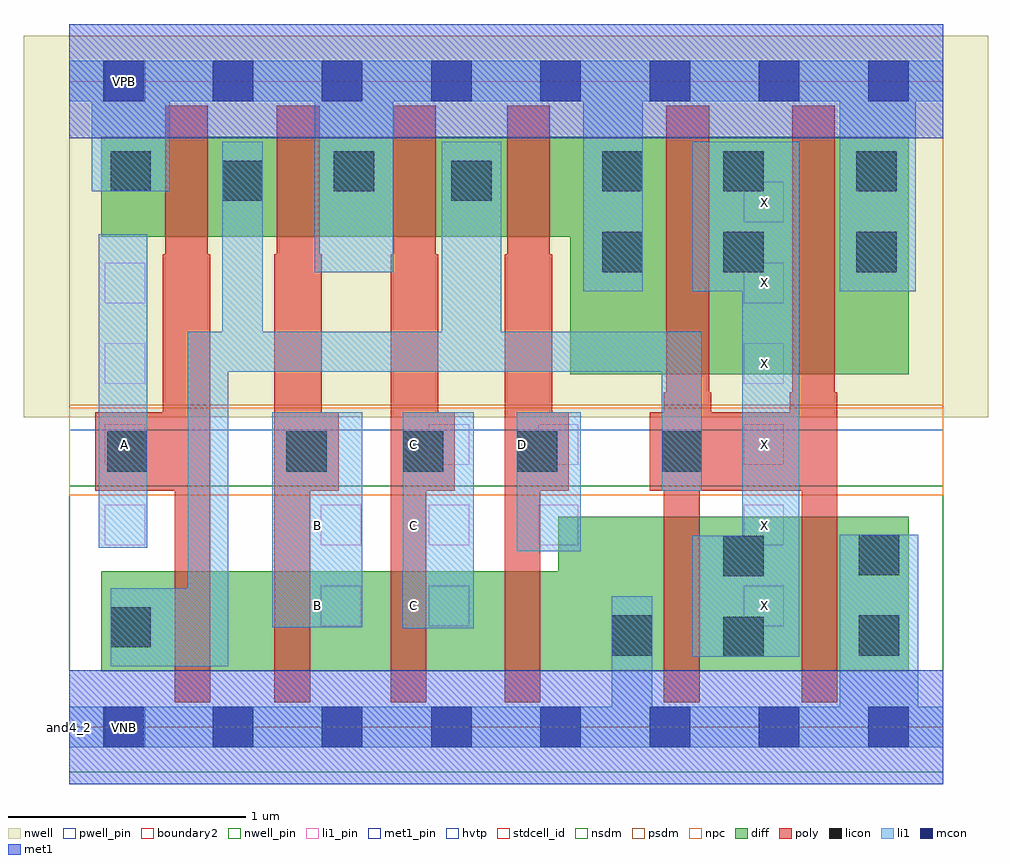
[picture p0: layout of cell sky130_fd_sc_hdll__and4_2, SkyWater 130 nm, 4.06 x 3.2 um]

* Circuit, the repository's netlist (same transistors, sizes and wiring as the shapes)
* Copyright 2020 The SkyWater PDK Authors
*
* Licensed under the Apache License, Version 2.0 (the "License");
* you may not use this file except in compliance with the License.
* You may obtain a copy of the License at
*
*     https://www.apache.org/licenses/LICENSE-2.0
*
* Unless required by applicable law or agreed to in writing, software
* distributed under the License is distributed on an "AS IS" BASIS,
* WITHOUT WARRANTIES OR CONDITIONS OF ANY KIND, either express or implied.
* See the License for the specific language governing permissions and
* limitations under the License.
*
* SPDX-License-Identifier: Apache-2.0

.SUBCKT sky130_fd_sc_hdll__and4_2 A B C D VGND VNB VPB VPWR X
*.PININFO A:I B:I C:I D:I VGND:I VNB:I VPB:I VPWR:I X:O
MMP0 y A VPWR VPB sky130_fd_pr__pfet_01v8_hvt m=1 w=0.42U l=0.18U mult=1 sa=0.265
+ sb=0.265 sd=0.28 area=0.063 perim=1.14
MMP1 y B VPWR VPB sky130_fd_pr__pfet_01v8_hvt m=1 w=0.42U l=0.18U mult=1 sa=0.265
+ sb=0.265 sd=0.28 area=0.063 perim=1.14
MMP2 y C VPWR VPB sky130_fd_pr__pfet_01v8_hvt m=1 w=0.42U l=0.18U mult=1 sa=0.265
+ sb=0.265 sd=0.28 area=0.063 perim=1.14
MMP3 y D VPWR VPB sky130_fd_pr__pfet_01v8_hvt m=1 w=0.42U l=0.18U mult=1 sa=0.265
+ sb=0.265 sd=0.28 area=0.063 perim=1.14
MMIP0 X y VPWR VPB sky130_fd_pr__pfet_01v8_hvt m=2 w=1.0U l=0.18U mult=1 sa=0.265
+ sb=0.265 sd=0.28 area=0.063 perim=1.14
MMN0 y A sndA VNB sky130_fd_pr__nfet_01v8 m=1 w=0.42U l=0.15U mult=1 sa=0.265 sb=0.265
+ sd=0.28 area=0.063 perim=1.14
MMN1 sndA B sndB VNB sky130_fd_pr__nfet_01v8 m=1 w=0.42U l=0.15U mult=1 sa=0.265
+ sb=0.265 sd=0.28 area=0.063 perim=1.14
MMN2 sndB C sndC VNB sky130_fd_pr__nfet_01v8 m=1 w=0.42U l=0.15U mult=1 sa=0.265
+ sb=0.265 sd=0.28 area=0.063 perim=1.14
MMN3 sndC D VGND VNB sky130_fd_pr__nfet_01v8 m=1 w=0.42U l=0.15U mult=1 sa=0.265
+ sb=0.265 sd=0.28 area=0.063 perim=1.14
MMIN0 X y VGND VNB sky130_fd_pr__nfet_01v8 m=2 w=0.65U l=0.15U mult=1 sa=0.265
+ sb=0.265 sd=0.28 area=0.063 perim=1.14
.ENDS sky130_fd_sc_hdll__and4_2

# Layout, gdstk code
import gdstk
lib = gdstk.Library(unit=1e-6, precision=1e-09)
def R(c, l, rs):  # rectangles x0, y0, x1, y1
    for r in rs: c.add(gdstk.rectangle(r[:2], r[2:], *l))
def A(c, l, x, y, w, h, nx, ny, dx, dy):  # array of equal rectangles
    R(c, l, [(x+i*dx, y+j*dy, x+i*dx+w, y+j*dy+h) for i in range(nx) for j in range(ny)])
def P(c, l, *ps):  # polygons
    for p in ps: c.add(gdstk.Polygon(p, *l))
nwell_pin = (64, 16)
nwell = (64, 20)
diff = (65, 20)
poly = (66, 20)
licon = (66, 44)
li1_pin = (67, 16)
li1 = (67, 20)
mcon = (67, 44)
met1_pin = (68, 16)
met1 = (68, 20)
hvtp = (78, 44)
stdcell_id = (81, 4)
nsdm = (93, 44)
psdm = (94, 20)
npc = (95, 20)
pwell_pin = (122, 16)
boundary2 = (236, 0)

sky130_fd_sc_hdll__and4_ = lib.new_cell('sky130_fd_sc_hdll__and4_2')
R(sky130_fd_sc_hdll__and4_, nwell_pin, [(0.15,2.635,0.32,2.805)])
R(sky130_fd_sc_hdll__and4_, nwell, [(-0.19,1.305,3.87,2.91)])
P(sky130_fd_sc_hdll__and4_, diff, [(3.535,0.885),(2.06,0.885),(2.06,0.655),(0.135,0.655),(0.135,0.235),(3.535,0.235)],
  [(3.535,2.485),(0.135,2.485),(0.135,2.065),(2.11,2.065),(2.11,1.485),(3.535,1.485)])
P(sky130_fd_sc_hdll__and4_, poly, [(0.595,1.99),(0.585,1.99),(0.585,2.615),(0.405,2.615),(0.405,1.99),(0.395,1.99),(0.395,1.325),(0.11,1.325),(0.11,0.995),(0.445,0.995),(0.445,0.105),(0.595,0.105)],
  [(1.135,1.325),(1.065,1.325),(1.065,1.99),(1.055,1.99),(1.055,2.615),(0.875,2.615),(0.875,1.99),(0.865,1.99),(0.865,0.105),(1.015,0.105),(1.015,0.995),(1.135,0.995)],
  [(1.625,1.325),(1.555,1.325),(1.555,1.99),(1.545,1.99),(1.545,2.615),(1.365,2.615),(1.365,1.99),(1.355,1.99),(1.355,0.105),(1.505,0.105),(1.505,0.995),(1.625,0.995)],
  [(2.105,1.325),(2.035,1.325),(2.035,1.99),(2.025,1.99),(2.025,2.615),(1.845,2.615),(1.845,1.99),(1.835,1.99),(1.835,0.105),(1.985,0.105),(1.985,0.995),(2.105,0.995)],
  [(3.235,1.41),(3.225,1.41),(3.225,2.615),(3.045,2.615),(3.045,1.41),(3.035,1.41),(3.035,1.325),(2.705,1.325),(2.705,1.41),(2.695,1.41),(2.695,2.615),(2.515,2.615),(2.515,1.41),(2.505,1.41),(2.505,1.325),(2.445,1.325),(2.445,0.995),(2.505,0.995),(2.505,0.105),(2.655,0.105),(2.655,0.995),(3.085,0.995),(3.085,0.105),(3.235,0.105)])
R(sky130_fd_sc_hdll__and4_, licon, [(2.755,0.295,2.925,0.465), (2.285,0.3,2.455,0.47), (3.325,0.3,3.495,0.47), (0.175,0.335,0.345,0.505), (2.755,0.635,2.925,0.805), (3.325,0.64,3.495,0.81), (0.16,1.075,0.33,1.245), (0.915,1.075,1.085,1.245), (1.405,1.075,1.575,1.245), (1.885,1.075,2.055,1.245), (2.495,1.075,2.665,1.245), (2.245,1.915,2.415,2.085), (2.755,1.915,2.925,2.085), (3.315,1.915,3.485,2.085), (0.645,2.215,0.815,2.385), (1.61,2.215,1.78,2.385), (0.175,2.255,0.345,2.425), (1.115,2.255,1.285,2.425), (2.245,2.255,2.415,2.425), (2.755,2.255,2.925,2.425), (3.315,2.255,3.485,2.425)])
A(sky130_fd_sc_hdll__and4_, li1_pin, 1.515, 0.425, 0.17, 0.17, 1, 3, 0, 0.34)
A(sky130_fd_sc_hdll__and4_, li1_pin, 2.84, 0.425, 0.17, 0.17, 1, 6, 0, 0.34)
A(sky130_fd_sc_hdll__and4_, li1_pin, 0.15, 0.765, 0.17, 0.17, 1, 4, 0, 0.34)
R(sky130_fd_sc_hdll__and4_, li1_pin, [(1.06,0.425,1.23,0.595), (1.06,0.765,1.23,0.935), (1.975,0.765,2.145,0.935), (1.975,1.105,2.145,1.275)])
R(sky130_fd_sc_hdll__and4_, li1, [(1.405,0.415,1.705,1.325), (0.855,0.42,1.235,1.325), (1.885,0.74,2.155,1.325), (0.125,0.755,0.33,2.075)])
P(sky130_fd_sc_hdll__and4_, li1, [(3.68,0.085),(3.575,0.085),(3.575,0.81),(3.245,0.81),(3.245,0.085),(2.455,0.085),(2.455,0.55),(2.285,0.55),(2.285,0.085),(0,0.085),(0,-0.085),(3.68,-0.085)],
  [(3.68,2.805),(0,2.805),(0,2.635),(0.095,2.635),(0.095,2.255),(0.425,2.255),(0.425,2.635),(1.035,2.635),(1.035,1.915),(1.365,1.915),(1.365,2.635),(2.165,2.635),(2.165,1.835),(2.415,1.835),(2.415,2.635),(3.245,2.635),(3.245,1.835),(3.565,1.835),(3.565,2.635),(3.68,2.635)],
  [(3.075,2.465),(2.625,2.465),(2.625,1.835),(2.835,1.835),(2.835,0.805),(2.625,0.805),(2.625,0.295),(3.075,0.295)],
  [(2.665,1.665),(1.82,1.665),(1.82,2.465),(1.57,2.465),(1.57,1.665),(0.815,1.665),(0.815,2.465),(0.645,2.465),(0.645,1.665),(0.5,1.665),(0.5,0.585),(0.175,0.585),(0.175,0.255),(0.67,0.255),(0.67,1.495),(2.495,1.495),(2.495,0.995),(2.665,0.995)])
A(sky130_fd_sc_hdll__and4_, mcon, 0.145, -0.085, 0.17, 0.17, 8, 2, 0.46, 2.72)
R(sky130_fd_sc_hdll__and4_, met1_pin, [(0.15,-0.085,0.32,0.085), (0.15,2.635,0.32,2.805)])
R(sky130_fd_sc_hdll__and4_, met1, [(0,-0.24,3.68,0.24), (0,2.48,3.68,2.96)])
R(sky130_fd_sc_hdll__and4_, hvtp, [(0,1.25,3.68,2.72)])
R(sky130_fd_sc_hdll__and4_, stdcell_id, [(0,0,3.68,2.72)])
R(sky130_fd_sc_hdll__and4_, nsdm, [(0,-0.19,3.68,1.015)])
R(sky130_fd_sc_hdll__and4_, psdm, [(0,1.355,3.68,2.91)])
R(sky130_fd_sc_hdll__and4_, npc, [(0,0.975,3.68,1.345)])
R(sky130_fd_sc_hdll__and4_, pwell_pin, [(0.15,-0.085,0.32,0.085)])
R(sky130_fd_sc_hdll__and4_, boundary2, [(0,0,3.68,2.72)])
sky130_fd_sc_hdll__and4_.add(gdstk.Label('X', (2.93,2.21), layer=67, texttype=5))
sky130_fd_sc_hdll__and4_.add(gdstk.Label('C', (1.45,0.51), layer=67, texttype=5))
sky130_fd_sc_hdll__and4_.add(gdstk.Label('C', (1.45,0.85), layer=67, texttype=5))
sky130_fd_sc_hdll__and4_.add(gdstk.Label('A', (0.235,1.19), layer=67, texttype=5))
sky130_fd_sc_hdll__and4_.add(gdstk.Label('C', (1.45,1.19), layer=67, texttype=5))
sky130_fd_sc_hdll__and4_.add(gdstk.Label('B', (1.045,0.51), layer=67, texttype=5))
sky130_fd_sc_hdll__and4_.add(gdstk.Label('B', (1.045,0.85), layer=67, texttype=5))
sky130_fd_sc_hdll__and4_.add(gdstk.Label('D', (1.91,1.19), layer=67, texttype=5))
sky130_fd_sc_hdll__and4_.add(gdstk.Label('X', (2.93,0.51), layer=67, texttype=5))
sky130_fd_sc_hdll__and4_.add(gdstk.Label('X', (2.93,0.85), layer=67, texttype=5))
sky130_fd_sc_hdll__and4_.add(gdstk.Label('X', (2.93,1.19), layer=67, texttype=5))
sky130_fd_sc_hdll__and4_.add(gdstk.Label('X', (2.93,1.53), layer=67, texttype=5))
sky130_fd_sc_hdll__and4_.add(gdstk.Label('X', (2.93,1.87), layer=67, texttype=5))
sky130_fd_sc_hdll__and4_.add(gdstk.Label('VNB', (0.235,0), layer=64, texttype=59))
sky130_fd_sc_hdll__and4_.add(gdstk.Label('VPB', (0.235,2.72), layer=64, texttype=5))
sky130_fd_sc_hdll__and4_.add(gdstk.Label('VGND', (0.23,0), layer=68, texttype=5))
sky130_fd_sc_hdll__and4_.add(gdstk.Label('VPWR', (0.23,2.72), layer=68, texttype=5))
sky130_fd_sc_hdll__and4_.add(gdstk.Label('and4_2', (0,0), layer=83, texttype=44))

lib.write_gds('sky130_fd_sc_hdll__and4_2.gds')
